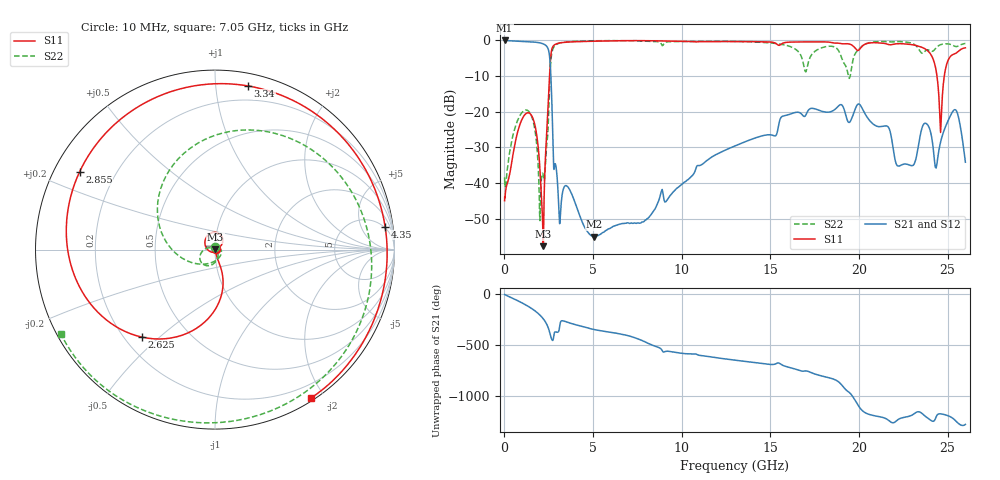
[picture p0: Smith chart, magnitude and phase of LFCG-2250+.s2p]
! Mini-Circuits
! S2P DATA File Format
! Type: LOW PASS FILTER
! Model: LFCG-2250+
! All S Parameters are in dB  deg format
! TEST CONDITIONS: INPUT POWER = 0 dBm @ Temperature = +25deg C
# MHz S dB R 50
!Frequency  S11 dB  S11 DEG  S21 dB  S21 DEG  S12 dB  S12 DEG  S22 dB  S22 DEG
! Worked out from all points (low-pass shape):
!   919 points, 10 MHz to 26 GHz, reference 50 ohm
!   highest |S21| = -0.09 dB at 10 MHz (marker M1); lowest = -55.0 dB at 5.05 GHz (marker M2)
!   |S21| within 3 dB of the highest: start of sweep to 2.501 GHz
!   lowest |S11| = -57.6 dB at 2.18 GHz (marker M3), VSWR 1.00, Z = 50.1 + j0.0931 ohm
!   |S11| at or under -10 dB: start of sweep to 2.541 GHz; 24.4 GHz to 24.81 GHz (416.1 MHz wide, 1.69 % of centre)
!   |S22| runs from -50.5 to -0.1 dB; largest |S21 - S12| = 0.00051
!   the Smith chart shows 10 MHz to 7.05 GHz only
!   S11 on the Smith chart (normalised r, x): 10 MHz: 1.01, +0.01; 2.625 GHz: 0.27, -0.44; 2.855 GHz: 0.07, +0.26; 3.34 GHz: 0.09, +1.22; 4.35 GHz: 4, +13; 7.05 GHz: 0.03, -1.84
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10  -44.91 32.9  -0.09 -1.2  -0.09 -1.3  -38.38 91.7
1400  -20.39 84.7  -0.45 -123.5  -0.45 -123.5  -20.07 -147.8
1840  -27.21 35.2  -0.63 -177.8  -0.63 -177.8  -30.29 160.0
2180  -57.64 45.1  -1.02 122.5  -1.03 122.5  -37.58 -42.4
2485  -16.06 -74.1  -2.76 25.5  -2.76 25.5  -21.86 -110.9
2625  -3.95 -129.8  -10.70 -60.3  -10.70 -60.3  -5.57 116.2
2855  -1.21 150.2  -34.57 -8.7  -34.58 -8.7  -1.52 15.9
3115  -0.78 105.3  -51.35 46.5  -51.36 46.3  -0.82 -29.0
3340  -0.63 78.6  -41.41 99.1  -41.40 99.1  -0.59 -51.5
4350  -0.39 7.7  -50.42 46.9  -50.45 47.0  -0.26 -99.2
5050  -0.30 -18.6  -54.95 14.7  -54.94 15.0  -0.17 -115.7
7050  -0.13 -57.1  -51.28 -49.1  -51.24 -49.1  -0.19 -151.1
8700  -0.20 -82.2  -44.93 -161.6  -45.00 -162.3  -0.49 176.2
13050  -0.38 -144.4  -29.50 72.7  -29.50 72.6  -0.36 107.0
16150  -0.54 164.5  -20.63 -1.5  -20.64 -1.5  -1.85 17.1
17350  -0.49 156.3  -19.07 -52.5  -19.07 -52.5  -3.91 -89.7
18250  -0.53 151.2  -20.15 -96.7  -20.16 -96.7  -1.72 -168.1
19400  -1.02 144.3  -22.96 123.0  -22.96 123.0  -9.97 165.3
21700  -1.27 130.1  -24.73 -162.0  -24.75 -162.0  -0.51 155.5
24600  -25.83 151.9  -28.54 -93.9  -28.54 -93.8  -1.27 166.4
25400  -3.82 -164.8  -19.43 -153.8  -19.44 -153.8  -1.71 165.2
26000  -2.16 -168.8  -34.15 162.3  -34.15 162.5  -0.93 171.0
